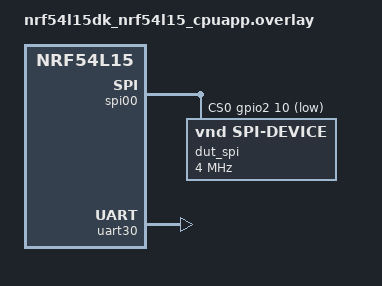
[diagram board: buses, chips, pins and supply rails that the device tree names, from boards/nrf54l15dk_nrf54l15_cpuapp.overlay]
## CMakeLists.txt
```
cmake_minimum_required(VERSION 3.20.0)

find_package(Zephyr REQUIRED HINTS $ENV{ZEPHYR_BASE})
project(spi_loopback)

target_sources(app PRIVATE src/main.c)
```

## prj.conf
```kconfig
CONFIG_SPI=y
CONFIG_PM_DEVICE=n
CONFIG_PM_DEVICE_RUNTIME=n
```

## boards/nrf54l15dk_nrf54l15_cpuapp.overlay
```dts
/*
Loopbacks:
	- SPI00: P2.02 <-> P2.04
	- SPI22: P1.11 <-> P1.09
*/

/ {
	chosen {
		zephyr,console = &uart30;
	};
};

// &spi22 {
// 	status = "okay";
// 	pinctrl-0 = <&spi22_default_alt>;
// 	pinctrl-1 = <&spi22_sleep_alt>;
// 	pinctrl-names = "default", "sleep";
// 	overrun-character = <0x00>;
// 	cs-gpios = <&gpio2 10 GPIO_ACTIVE_LOW>;
// 	zephyr,pm-device-runtime-auto;
// 	dut_spi: test-spi-dev@0 {
// 		compatible = "vnd,spi-device";
// 		reg = <0>;
// 		spi-max-frequency = <DT_FREQ_M(4)>;
// 	};
// };

&spi00 {
	status = "okay";
	cs-gpios = <&gpio2 10 GPIO_ACTIVE_LOW>;
	zephyr,pm-device-runtime-auto;
	dut_spi: test-spi-dev@1 {
		compatible = "vnd,spi-device";
		reg = <0>;
		spi-max-frequency = <DT_FREQ_M(4)>;
	};
};



&gpio2 {
	status = "okay";
};

&uart30 {
	status = "okay";
};

&uart20 {
	status = "disabled";
};

&pinctrl {
	spi22_default_alt: spi22_default_alt {
		group1 {
			psels = <NRF_PSEL(SPIM_SCK, 1, 13)>,
				<NRF_PSEL(SPIM_MISO, 1, 11)>,
				<NRF_PSEL(SPIM_MOSI, 1, 9)>;
		};
	};

	spi22_sleep_alt: spi22_sleep_alt {
		group1 {
			psels = <NRF_PSEL(SPIM_SCK, 1, 13)>,
				<NRF_PSEL(SPIM_MISO, 1, 11)>,
				<NRF_PSEL(SPIM_MOSI, 1, 9)>;
			low-power-enable;
		};
	};
};
```

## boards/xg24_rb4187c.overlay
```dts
/*
Loopbacks:
	- EUSART1: SPI_CIPO <-> SPI_COPI
*/

#include <dt-bindings/pinctrl/silabs/xg24-pinctrl.h>

&pinctrl {
	eusart1_default: eusart1_default {
		group0 {
			pins = <EUSART1_TX_PC1>, <EUSART1_SCLK_PC3>;
			drive-push-pull;
			output-high;
		};
		group1 {
			pins = <EUSART1_RX_PC2>;
			input-enable;
		};
	};
};

&eusart1 {
	dmas = <&dma0 DMA_REQSEL_EUSART1TXFL>,
	       <&dma0 DMA_REQSEL_EUSART1RXFL>;
	dma-names = "tx", "rx";
	#address-cells = <1>;
	#size-cells = <0>;
	pinctrl-0 = <&eusart1_default>;
	pinctrl-names = "default";
	status = "okay";
	cs-gpios = <&gpioc 0 GPIO_ACTIVE_LOW>;
	dut_spi: test-spi-dev@3 {
		compatible = "vnd,spi-device";
		reg = <3>;
		spi-max-frequency = <DT_FREQ_M(4)>;
	};
};

&dma0 {
	status = "okay";
};
```

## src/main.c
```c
#include <zephyr/drivers/spi.h>
#include <zephyr/pm/device_runtime.h>
#include <zephyr/drivers/gpio.h>
#include <zephyr/kernel.h>
#include <stdio.h>
#include <stdarg.h>

#define REPEAT_COUNT 1000UL
#define BUFFER_COUNT 1
#define BUFFER_SIZE 1024
#define LENGTH_STRIDE 16
#define TRANSFER_LENGTH_MIN 16
#define TRANSFER_LENGTH_MAX BUFFER_SIZE

#define FRAME_SIZE COND_CODE_1(CONFIG_SPI_LOOPBACK_16BITS_FRAMES, (16), (8))
#define MODE_LOOP  COND_CODE_1(CONFIG_SPI_LOOPBACK_MODE_LOOP, (SPI_MODE_LOOP), (0))

#define SPI_OP(frame_size)                                                 \
    SPI_OP_MODE_MASTER | SPI_MODE_CPOL | MODE_LOOP | SPI_MODE_CPHA |       \
        SPI_WORD_SET(frame_size) | SPI_LINES_SINGLE

#define SPI_DEV_NODE DT_NODELABEL(dut_spi)
static struct spi_dt_spec spi_dt = SPI_DT_SPEC_GET(SPI_DEV_NODE, SPI_OP(FRAME_SIZE), 0);

static uint8_t tx_buf[BUFFER_COUNT * BUFFER_SIZE];
static struct spi_buf spi_tx_bufs[BUFFER_COUNT];

static struct spi_buf_set tx_bufs = {
    .buffers = spi_tx_bufs,
    .count = BUFFER_COUNT,
};

static uint8_t rx_buf[BUFFER_COUNT * BUFFER_SIZE];
struct spi_buf spi_rx_bufs[BUFFER_COUNT];
struct spi_buf_set rx_bufs = {
    .buffers = spi_rx_bufs,
    .count = BUFFER_COUNT,
};

static void setup_buffers(void)
{
    // fill tx buffer with some data
    for (int i = 0; i < sizeof(tx_buf); i++) {
        tx_buf[i] = (uint8_t)i;
    }

    for (int i = 0; i < BUFFER_COUNT; i++) {
        spi_tx_bufs[i].buf = tx_buf + (uint32_t)(i * BUFFER_SIZE);
        spi_tx_bufs[i].len = 1;

        spi_rx_bufs[i].buf = rx_buf + (uint32_t)(i * BUFFER_SIZE);
        spi_rx_bufs[i].len = 1;
    }
}

// nrf54l15dk/nrf54l15/cpuapp
// xg24_rb4187c

static uint64_t spi_benchmark_time_per_spi_transceive(size_t transfer_length)
{
    for (int i = 0; i < BUFFER_COUNT; i++) {
        spi_rx_bufs[i].len = transfer_length;
        spi_tx_bufs[i].len = transfer_length;
    }
    uint32_t start = k_cycle_get_32();

    for (int i = 0; i < REPEAT_COUNT; i++) {
        spi_transceive_dt(&spi_dt, &tx_bufs, &rx_bufs);
        // spi_write_dt(&spi_dt, &tx_bufs);
    }
    uint32_t end = k_cycle_get_32();

    uint32_t cycles = end - start;
    uint64_t us = ((uint64_t)cycles * 1000000ULL) / CONFIG_SYS_CLOCK_HW_CYCLES_PER_SEC;
    return (uint32_t)(us / REPEAT_COUNT);
}

static uint64_t spi_benchmark_time_per_spi_read(size_t transfer_length)
{
    for (int i = 0; i < BUFFER_COUNT; i++) {
        spi_rx_bufs[i].len = transfer_length;
        spi_tx_bufs[i].len = transfer_length;
    }
    uint32_t start = k_cycle_get_32();

    for (int i = 0; i < REPEAT_COUNT; i++) {
        spi_read_dt(&spi_dt, &rx_bufs);
        // spi_write_dt(&spi_dt, &tx_bufs);
    }
    uint32_t end = k_cycle_get_32();

    uint32_t cycles = end - start;
    uint64_t us = ((uint64_t)cycles * 1000000ULL) / CONFIG_SYS_CLOCK_HW_CYCLES_PER_SEC;
    return (uint32_t)(us / REPEAT_COUNT);
}

static uint64_t spi_benchmark_time_per_spi_write(size_t transfer_length)
{
    for (int i = 0; i < BUFFER_COUNT; i++) {
        spi_rx_bufs[i].len = transfer_length;
        spi_tx_bufs[i].len = transfer_length;
    }
    uint32_t start = k_cycle_get_32();

    for (int i = 0; i < REPEAT_COUNT; i++) {
        spi_write_dt(&spi_dt, &tx_bufs);
        // spi_write_dt(&spi_dt, &tx_bufs);
    }
    uint32_t end = k_cycle_get_32();

    uint32_t cycles = end - start;
    uint64_t us = ((uint64_t)cycles * 1000000ULL) / CONFIG_SYS_CLOCK_HW_CYCLES_PER_SEC;
    return (uint32_t)(us / REPEAT_COUNT);
}

int main(void)
{
    setup_buffers();
    // (void)pm_device_runtime_get(spi_dt.bus);
    spi_transceive_dt(&spi_dt, &tx_bufs, &rx_bufs);

    uint32_t results[(TRANSFER_LENGTH_MAX - TRANSFER_LENGTH_MIN) / LENGTH_STRIDE + 1];
    // for (size_t i = 0; i < ARRAY_SIZE(results); i++) {
    //     size_t length = TRANSFER_LENGTH_MIN + i * LENGTH_STRIDE;
    //     results[i] = spi_benchmark_time_per_spi_transceive(length);
    // }

    // for (size_t i = 0; i < ARRAY_SIZE(results); i++) {
    //     uint32_t length = TRANSFER_LENGTH_MIN + i * LENGTH_STRIDE;
    //     printk("%u,%u\n", length, results[i]);
    // }

    for (size_t i = 0; i < ARRAY_SIZE(results); i++) {
        size_t length = TRANSFER_LENGTH_MIN + i * LENGTH_STRIDE;
        results[i] = spi_benchmark_time_per_spi_read(length);
    }

    for (size_t i = 0; i < ARRAY_SIZE(results); i++) {
        uint32_t length = TRANSFER_LENGTH_MIN + i * LENGTH_STRIDE;
        printk("%u,%u\n", length, results[i]);
    }

    for (size_t i = 0; i < ARRAY_SIZE(results); i++) {
        size_t length = TRANSFER_LENGTH_MIN + i * LENGTH_STRIDE;
        results[i] = spi_benchmark_time_per_spi_write(length);
    }

    for (size_t i = 0; i < ARRAY_SIZE(results); i++) {
        uint32_t length = TRANSFER_LENGTH_MIN + i * LENGTH_STRIDE;
        printk("%u,%u\n", length, results[i]);
    }

    // (void)pm_device_runtime_put(spi_dt.bus);

    return 0;
}
```
